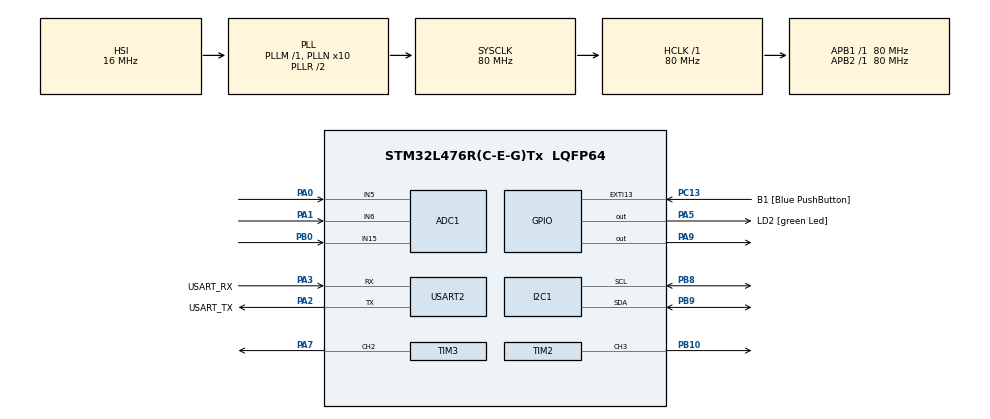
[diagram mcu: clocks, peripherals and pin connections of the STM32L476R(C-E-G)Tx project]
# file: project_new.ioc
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ADC1.Channel-0\#ChannelRegularConversion=ADC_CHANNEL_5
ADC1.NbrOfConversionFlag=1
ADC1.OffsetNumber-0\#ChannelRegularConversion=ADC_OFFSET_NONE
ADC1.Rank-0\#ChannelRegularConversion=1
ADC1.SamplingTime-0\#ChannelRegularConversion=ADC_SAMPLETIME_2CYCLES_5
ADC1.master=1
FREERTOS.Tasks01=defaultTask,24,128,StartDefaultTask,Default,NULL,Dynamic,NULL,NULL
FREERTOS.configTOTAL_HEAP_SIZE=25000
I2C1.Timing=0x10D19CE4
Mcu.Family=STM32L4
Mcu.Name=STM32L476R(C-E-G)Tx
Mcu.Package=LQFP64
NVIC.PriorityGroup=NVIC_PRIORITYGROUP_4
PA0.Signal=ADCx_IN5
PA1.Signal=ADCx_IN6
PA13\ (JTMS-SWDIO).GPIO_Label=TMS
PA13\ (JTMS-SWDIO).Mode=Serial_Wire
PA13\ (JTMS-SWDIO).Signal=SYS_JTMS-SWDIO
PA14\ (JTCK-SWCLK).GPIO_Label=TCK
PA14\ (JTCK-SWCLK).Mode=Serial_Wire
PA14\ (JTCK-SWCLK).Signal=SYS_JTCK-SWCLK
PA2.GPIO_Label=USART_TX
PA2.GPIO_Mode=GPIO_MODE_AF_PP
PA2.GPIO_PuPd=GPIO_NOPULL
PA2.GPIO_Speed=GPIO_SPEED_FREQ_VERY_HIGH
PA2.Mode=Asynchronous
PA2.Signal=USART2_TX
PA3.GPIO_Label=USART_RX
PA3.GPIO_Mode=GPIO_MODE_AF_PP
PA3.GPIO_PuPd=GPIO_NOPULL
PA3.GPIO_Speed=GPIO_SPEED_FREQ_VERY_HIGH
PA3.Mode=Asynchronous
PA3.Signal=USART2_RX
PA5.GPIO_Label=LD2 [green Led]
PA5.GPIO_ModeDefaultOutputPP=GPIO_MODE_OUTPUT_PP
PA5.GPIO_PuPd=GPIO_NOPULL
PA5.GPIO_Speed=GPIO_SPEED_FREQ_LOW
PA5.Signal=GPIO_Output
PA6.Signal=S_TIM3_CH1
PA7.Signal=S_TIM3_CH2
PA9.GPIO_ModeDefaultOutputPP=GPIO_MODE_OUTPUT_PP
PA9.GPIO_PuPd=GPIO_PULLDOWN
PA9.Signal=GPIO_Output
PB0.Signal=ADCx_IN15
PB10.Signal=S_TIM2_CH3
PB11.Signal=S_TIM2_CH4
PB3\ (JTDO-TRACESWO).GPIO_Label=SWO
PB3\ (JTDO-TRACESWO).Signal=SYS_JTDO-SWO
PB8.Mode=I2C
PB8.Signal=I2C1_SCL
PB9.Mode=I2C
PB9.Signal=I2C1_SDA
PC13.GPIO_Label=B1 [Blue PushButton]
PC13.GPIO_ModeDefaultEXTI=GPIO_MODE_IT_FALLING
PC13.GPIO_PuPd=GPIO_NOPULL
PC13.Signal=GPXTI13
PC14-OSC32_IN\ (PC14).Mode=LSE-External-Oscillator
PC14-OSC32_IN\ (PC14).Signal=RCC_OSC32_IN
PC15-OSC32_OUT\ (PC15).Mode=LSE-External-Oscillator
PC15-OSC32_OUT\ (PC15).Signal=RCC_OSC32_OUT
PH0-OSC_IN\ (PH0).Signal=RCC_OSC_IN
PH1-OSC_OUT\ (PH1).Signal=RCC_OSC_OUT
ProjectManager.HeapSize=0x200
ProjectManager.StackSize=0x400
ProjectManager.TargetToolchain=STM32CubeIDE
RCC.ADCFreq_Value=64000000
RCC.AHBFreq_Value=80000000
RCC.APB1Freq_Value=80000000
RCC.APB1TimFreq_Value=80000000
RCC.APB2Freq_Value=80000000
RCC.APB2TimFreq_Value=80000000
RCC.CortexFreq_Value=80000000
RCC.HCLKFreq_Value=80000000
RCC.HSE_VALUE=8000000
RCC.HSI_VALUE=16000000
RCC.MSI_VALUE=4000000
RCC.PLLN=10
RCC.PLLSourceVirtual=RCC_PLLSOURCE_HSI
RCC.PREFETCH_ENABLE=1
RCC.SYSCLKFreq_VALUE=80000000
RCC.SYSCLKSource=RCC_SYSCLKSOURCE_PLLCLK
RCC.USBFreq_Value=64000000
RCC.VCOOutputFreq_Value=160000000
SH.ADCx_IN15.0=ADC1_IN15,IN15-Single-Ended
SH.ADCx_IN5.0=ADC1_IN5,IN5-Single-Ended
SH.ADCx_IN6.0=ADC1_IN6,IN6-Single-Ended
SH.S_TIM2_CH3.0=TIM2_CH3,PWM Generation3 CH3
SH.S_TIM2_CH4.0=TIM2_CH4
SH.S_TIM3_CH1.0=TIM3_CH1
SH.S_TIM3_CH2.0=TIM3_CH2,PWM Generation2 CH2
TIM2.Channel-PWM\ Generation3\ CH3=TIM_CHANNEL_3
TIM2.Period=19999
TIM2.Prescaler=79
TIM3.Channel-PWM\ Generation2\ CH2=TIM_CHANNEL_2
TIM3.Period=19999
TIM3.Prescaler=79
USART2.VirtualMode-Asynchronous=VM_ASYNC
VP_FREERTOS_VS_CMSIS_V2.Mode=CMSIS_V2
board=NUCLEO-L476RG

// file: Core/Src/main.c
/* USER CODE BEGIN Header */
/**
  ******************************************************************************
  * @file           : main.c
  * @brief          : Main program body
  ******************************************************************************
  * @attention
  *
  * Copyright (c) 2025 STMicroelectronics.
  * All rights reserved.
  *
  * This software is licensed under terms that can be found in the LICENSE file
  * in the root directory of this software component.
  * If no LICENSE file comes with this software, it is provided AS-IS.
  *
  ******************************************************************************
  */
/* USER CODE END Header */
#include "main.h"
#include "cmsis_os.h"
#include "adc.h"
#include "i2c.h"
#include "tim.h"
#include "usart.h"
#include "gpio.h"

/* USER CODE BEGIN Includes */
#include <stdlib.h>   // for abs()
/* USER CODE END Includes */

/* USER CODE BEGIN PD */

// ===== SERVO PULSE LIMITS =====
#define SERVO_MIN_PULSE 1000   // 1.0 ms
#define SERVO_MAX_PULSE 2000   // 2.0 ms
#define SERVO_STOP      1500   // 1.5 ms (center)

#define MY_I2C_ADDR  (0x68 << 1)   // 0x68 is 7-bit address

// ===== CALIBRATION DATA =====
// X Axis (Restricted Range)
#define X_MIN     976
#define X_CENTER  1987
#define X_MAX     3019

// Y Axis (Full Range)
#define Y_MIN     0
#define Y_CENTER  2005
#define Y_MAX     4032

// Deadzone to prevent drift / cross-talk between axes
#define DEAD_BAND 150

/* USER CODE END PD */

/* USER CODE BEGIN PM */
 #include "i2c.h"

/* USER CODE END PM */

void SystemClock_Config(void);
void MX_FREERTOS_Init(void);
/* USER CODE BEGIN PFP */

// Call this from your FreeRTOS task loop
void Process_Joystick(void);

/* USER CODE END PFP */

int main(void)
{

  /* MCU Configuration--------------------------------------------------------*/

  /* Reset of all peripherals, Initializes the Flash interface and the Systick. */
  HAL_Init();

  /* Configure the system clock */
  SystemClock_Config();

  /* Initialize all configured peripherals */
  MX_GPIO_Init();
  MX_USART2_UART_Init();
  MX_TIM2_Init();
  MX_TIM3_Init();
  MX_ADC1_Init();
  MX_I2C1_Init();
  /* USER CODE BEGIN 2 */
  // Start PWM for both servos (TIM2_CH3, TIM3_CH2, plus TIM3_CH3 for buzzer)
  if (HAL_TIM_PWM_Start(&htim2, TIM_CHANNEL_3) != HAL_OK) {
      Error_Handler();
  }
  if (HAL_TIM_PWM_Start(&htim3, TIM_CHANNEL_2) != HAL_OK) {
      Error_Handler();
  }

  // Set initial center position for both servos
  __HAL_TIM_SET_COMPARE(&htim2, TIM_CHANNEL_3, SERVO_STOP);
  __HAL_TIM_SET_COMPARE(&htim3, TIM_CHANNEL_2, SERVO_STOP);

  // LED blink to confirm init (optional)
  for (int i = 0; i < 3; i++) {
      HAL_GPIO_WritePin(GPIOA, GPIO_PIN_5, GPIO_PIN_SET);
      HAL_GPIO_WritePin(GPIOA, GPIO_PIN_9, GPIO_PIN_SET);

      HAL_Delay(200);
      HAL_GPIO_WritePin(GPIOA, GPIO_PIN_5, GPIO_PIN_RESET);
      HAL_GPIO_WritePin(GPIOA, GPIO_PIN_9, GPIO_PIN_RESET);

      HAL_Delay(200);
  }
  /* USER CODE END 2 */

  /* Init scheduler */
  osKernelInitialize();  /* Call init function for freertos objects (in cmsis_os2.c) */
  MX_FREERTOS_Init();

  /* Start scheduler */
  osKernelStart();

  /* We should never get here as control is now taken by the scheduler */

  /* Infinite loop */
  while (1)
  {

    /* USER CODE BEGIN 3 */
	  //uint8_t data[6];
	 // I2C_ReadBytes(0x68, 0x3B, data, 6);   // Read accelerometer 6 bytes
	  char msg[90];
	  sprintf(msg,"PHOTO: %d",LightSensor_ReadLux());
	  HAL_UART_Transmit(&huart2, (uint8_t*)msg, strlen(msg), HAL_MAX_DELAY);
    // DO NOT put Process_Joystick() here once FreeRTOS is running.
    // Call Process_Joystick() from a FreeRTOS task instead (e.g. defaultTask in freertos.c).
  }
  /* USER CODE END 3 */
}

void SystemClock_Config(void)
{
  RCC_OscInitTypeDef RCC_OscInitStruct = {0};
  RCC_ClkInitTypeDef RCC_ClkInitStruct = {0};

  /** Configure the main internal regulator output voltage
  */
  if (HAL_PWREx_ControlVoltageScaling(PWR_REGULATOR_VOLTAGE_SCALE1) != HAL_OK)
  {
    Error_Handler();
  }

  /** Initializes the RCC Oscillators according to the specified parameters
  * in the RCC_OscInitTypeDef structure.
  */
  RCC_OscInitStruct.OscillatorType = RCC_OSCILLATORTYPE_HSI;
  RCC_OscInitStruct.HSIState = RCC_HSI_ON;
  RCC_OscInitStruct.HSICalibrationValue = RCC_HSICALIBRATION_DEFAULT;
  RCC_OscInitStruct.PLL.PLLState = RCC_PLL_ON;
  RCC_OscInitStruct.PLL.PLLSource = RCC_PLLSOURCE_HSI;
  RCC_OscInitStruct.PLL.PLLM = 1;
  RCC_OscInitStruct.PLL.PLLN = 10;
  RCC_OscInitStruct.PLL.PLLP = RCC_PLLP_DIV7;
  RCC_OscInitStruct.PLL.PLLQ = RCC_PLLQ_DIV2;
  RCC_OscInitStruct.PLL.PLLR = RCC_PLLR_DIV2;
  if (HAL_RCC_OscConfig(&RCC_OscInitStruct) != HAL_OK)
  {
    Error_Handler();
  }

  /** Initializes the CPU, AHB and APB buses clocks
  */
  RCC_ClkInitStruct.ClockType = RCC_CLOCKTYPE_HCLK|RCC_CLOCKTYPE_SYSCLK
                              |RCC_CLOCKTYPE_PCLK1|RCC_CLOCKTYPE_PCLK2;
  RCC_ClkInitStruct.SYSCLKSource = RCC_SYSCLKSOURCE_PLLCLK;
  RCC_ClkInitStruct.AHBCLKDivider = RCC_SYSCLK_DIV1;
  RCC_ClkInitStruct.APB1CLKDivider = RCC_HCLK_DIV1;
  RCC_ClkInitStruct.APB2CLKDivider = RCC_HCLK_DIV1;

  if (HAL_RCC_ClockConfig(&RCC_ClkInitStruct, FLASH_LATENCY_4) != HAL_OK)
  {
    Error_Handler();
  }
}

/* USER CODE BEGIN 4 */

/**
  * @brief  Read joystick (ADC) and update servo PWMs.
  * @note   CALL THIS FROM A FREERTOS TASK (e.g. defaultTask in freertos.c),
  *         NOT from main's while(1) once the scheduler is running.
  */
void Process_Joystick(void)
{
    uint32_t rawX = 0;
    uint32_t rawY = 0;

    // Example using polling for 2 channels in sequence.
    // Make sure MX_ADC1_Init() is configured to scan both channels in sequence.
    HAL_ADC_Start(&hadc1);

    if (HAL_ADC_PollForConversion(&hadc1, 10) == HAL_OK) {
        rawX = HAL_ADC_GetValue(&hadc1);  // first conversion: X
    }

    if (HAL_ADC_PollForConversion(&hadc1, 10) == HAL_OK) {
        rawY = HAL_ADC_GetValue(&hadc1);  // second conversion: Y
    }

    HAL_ADC_Stop(&hadc1);

    // Map to servo pulses using your calibrated asymmetric mapping
    uint32_t pwmX = Map_Joystick_Axis(rawX, X_MIN, X_CENTER, X_MAX);
    uint32_t pwmY = Map_Joystick_Axis(rawY, Y_MIN, Y_CENTER, Y_MAX);

    // Write to servo timers
    __HAL_TIM_SET_COMPARE(&htim2, TIM_CHANNEL_3, pwmX); // X-axis servo
    __HAL_TIM_SET_COMPARE(&htim3, TIM_CHANNEL_2, pwmY); // Y-axis servo
}

/* USER CODE END 4 */

void Error_Handler(void)
{
  __disable_irq();
  while (1)
  {
  }
}

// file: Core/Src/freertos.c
/* USER CODE BEGIN Header */
/**
  ******************************************************************************
  * File Name         : freertos.c
  * Description       : Code for freertos applications
  ******************************************************************************
  * @attention
  *
  * Copyright (c) 2025 STMicroelectronics.
  * All rights reserved.
  *
  * This software is licensed under terms that can be found in the LICENSE file
  * in the root directory of this software component.
  * If no LICENSE file comes with this software, it is provided AS-IS.
  *
  ******************************************************************************
  */
/* USER CODE END Header */

#include "FreeRTOS.h"
#include "task.h"
#include "main.h"
#include "cmsis_os.h"
#include "i2c.h"

/* USER CODE BEGIN Includes */
#include "usart.h" // for huart2
#include "tim.h"   // for htim2, htim3
#include "adc.h"   // for hadc1
#include <stdio.h>
#include <string.h>
#include <stdlib.h> // abs()
/* USER CODE END Includes */

/* USER CODE BEGIN PTD */

// Shared data between tasks
typedef struct {
    uint32_t joystick_x;
    uint32_t joystick_y;
    uint16_t servo_x_pulse;
    uint16_t servo_y_pulse;
    uint8_t  buzzer_active;
} SharedData_t;

/* USER CODE END PTD */

/* USER CODE BEGIN PD */

// ===== Joystick Calibration =====
// X-axis: [418, 3100], center = almost 2000
const uint16_t JOY_X_MIN    = 418;
const uint16_t JOY_X_CENTER = 2000;
const uint16_t JOY_X_MAX    = 3100;

// Y-axis: [0, 4095], center = almost 2000
const uint16_t JOY_Y_MIN    = 0;
const uint16_t JOY_Y_CENTER = 2000;
const uint16_t JOY_Y_MAX    = 3218;

// Servo pulse range (µs / timer ticks)
const uint16_t SERVO_MIN    = 1000;
const uint16_t SERVO_CENTER = 1500;
const uint16_t SERVO_MAX    = 2000;
// Right = positive side, Left = negative side (smaller pulse)
#define SERVO_Y_MAX_OFFSET   150   // range of movement on servo y
#define SERVO_Y_SLEW_STEP    30     // lower = slower, higher = faster
#define SERVO_X_SLEW_STEP   30    // lower = slower, higher = faster

// Shift Y center: negative = more to the left, positive = more to the right
#define SERVO_Y_CENTER_TRIM  -50

/* USER CODE END PD */

/* USER CODE BEGIN Variables */

// Shared data instance
volatile SharedData_t g_sharedData;

// Mutex
osMutexId_t g_dataMutexHandle;

// Task handles
osThreadId_t g_joystickTaskHandle;
osThreadId_t g_servoTaskHandle;
osThreadId_t g_buzzerTaskHandle;
osThreadId_t g_uartPrinterTaskHandle;

// UART TX buffer
char g_txBuffer[100];

/* USER CODE END Variables */
/* Definitions for defaultTask */
osThreadId_t defaultTaskHandle;
const osThreadAttr_t defaultTask_attributes = {
  .name = "defaultTask",
  .stack_size = 128 * 4,
  .priority = (osPriority_t) osPriorityNormal,
};

/* USER CODE BEGIN FunctionPrototypes */
void debugPrint(char *msg)
{
    HAL_UART_Transmit(&huart2, (uint8_t*)msg, strlen(msg), HAL_MAX_DELAY);
}

void StartDefaultTask(void *argument);

/* Task functions */
void joystickTask(void *argument);
void servoTask(void *argument);
void buzzerTask(void *argument);
void printerTask(void *argument);
// Helper function: read 5 samples from ADC_CHANNEL_15, average them,
// and trigger the buzzer if the average is above 1200.

/* Helpers */
uint32_t Read_ADC_Channel(uint32_t channel);

static int32_t MapRawAxisToPercent(uint32_t raw,
                                   uint32_t min,
                                   uint32_t neutral,
                                   uint32_t max);

static void Apply_CrossAxis_Compensation(int32_t *x, int32_t *y);

void Read_Calibrated_Joystick(int32_t *x_out, int32_t *y_out);

uint16_t Map_JoyPercent_To_Pulse(int32_t pct);

void play_tone(uint32_t duration_ms);
void debugPrint(char *msg);
void Check_Adc15_And_Buzz(void)
{
    uint32_t sum = 0;
    uint32_t avg = 0;

    for (int i = 0; i < 5; i++)
    {
        sum += Read_ADC_Channel(ADC_CHANNEL_15);  // your existing ADC helper
    }

    avg = sum / 5;

    if (avg > 1200)
    {
        // Call your existing tone function
        play_tone(300);
    }
}

/* USER CODE END FunctionPrototypes */

void StartDefaultTask(void *argument);

void MX_FREERTOS_Init(void); /* (MISRA C 2004 rule 8.1) */

void MX_FREERTOS_Init(void) {
  /* USER CODE BEGIN Init */

// Center servos on startup
__HAL_TIM_SET_COMPARE(&htim2, TIM_CHANNEL_3, SERVO_CENTER); // X servo
__HAL_TIM_SET_COMPARE(&htim3, TIM_CHANNEL_2, SERVO_CENTER + SERVO_Y_CENTER_TRIM); // Y servo

  /* USER CODE END Init */

  /* USER CODE BEGIN RTOS_MUTEX */

  const osMutexAttr_t g_dataMutex_attributes = {
      .name = "dataMutex"
  };
  g_dataMutexHandle = osMutexNew(&g_dataMutex_attributes);
  if (g_dataMutexHandle == NULL) {
      debugPrint("ERROR: Failed to create dataMutex!\r\n");
  }

  // Initialize shared data to center
  g_sharedData.joystick_x    = JOY_X_CENTER;
  g_sharedData.joystick_y    = JOY_Y_CENTER;
  g_sharedData.servo_x_pulse = SERVO_CENTER;
  g_sharedData.servo_y_pulse = SERVO_CENTER + SERVO_Y_CENTER_TRIM;
  g_sharedData.buzzer_active = 1;

  /* USER CODE END RTOS_MUTEX */

  /* Create the thread(s) */
  /* creation of defaultTask */
  defaultTaskHandle = osThreadNew(StartDefaultTask, NULL, &defaultTask_attributes);

  /* USER CODE BEGIN RTOS_THREADS */

  // --- Create Joystick Task ---
  const osThreadAttr_t g_joystickTask_attributes = {
      .name       = "JoystickTask",
      .priority   = (osPriority_t) osPriorityHigh,
      .stack_size = 500 * 4
  };
  g_joystickTaskHandle = osThreadNew(joystickTask, NULL, &g_joystickTask_attributes);
  if (g_joystickTaskHandle == NULL) {
      debugPrint("ERROR: Failed to create JoystickTask!\r\n");
  }

  // --- Create Servo Task ---
  const osThreadAttr_t g_servoTask_attributes = {
      .name       = "ServoTask",
      .priority   = (osPriority_t) osPriorityAboveNormal,
      .stack_size = 256 * 4
  };
  g_servoTaskHandle = osThreadNew(servoTask, NULL, &g_servoTask_attributes);
  if (g_servoTaskHandle == NULL) {
      debugPrint("ERROR: Failed to create ServoTask!\r\n");
  }

  // --- Create Buzzer Task ---
  const osThreadAttr_t g_buzzerTask_attributes = {
      .name       = "BuzzerTask",
      .priority   = (osPriority_t) osPriorityNormal,
      .stack_size = 256 * 4
  };
  g_buzzerTaskHandle = osThreadNew(buzzerTask, NULL, &g_buzzerTask_attributes);
  if (g_buzzerTaskHandle == NULL) {
      debugPrint("ERROR: Failed to create BuzzerTask!\r\n");
  }

  // --- Create UART Printer Task ---
  const osThreadAttr_t g_uartPrinterTask_attributes = {
      .name       = "UARTPrinterTask",
      .priority   = (osPriority_t) osPriorityNormal,
      .stack_size = 256 * 4
  };
  g_uartPrinterTaskHandle = osThreadNew(printerTask, NULL, &g_uartPrinterTask_attributes);
  if (g_uartPrinterTaskHandle == NULL) {
      debugPrint("ERROR: Failed to create UARTPrinterTask!\r\n");
  }

  /* USER CODE END RTOS_THREADS */

}

#define PCF_MODULE_ADDRESS  (0x48 << 1)  // 7-bit base address shifted once for HAL
#define PCF_READ_AIN1       (0x40 | 0x01)  // 0x40 = enable ADC, 0x01 = select AIN1

//reading value from photoresistor (0 to 250)
int LightSensor_ReadLux(I2C_HandleTypeDef *hi2c)
{
    HAL_StatusTypeDef status;
    uint8_t cmd = PCF_READ_AIN1;
    uint8_t dummy;
    uint8_t value;

    // Step 1: Send control byte (select AIN1 and turn on ADC)
    status = HAL_I2C_Master_Transmit(hi2c, PCF_MODULE_ADDRESS, &cmd, 1, 100);
    if (status != HAL_OK)
        return -1;

    // Step 2: Dummy read (previous conversion)
    status = HAL_I2C_Master_Receive(hi2c, PCF_MODULE_ADDRESS, &dummy, 1, 100);
    if (status != HAL_OK)
        return -1;

    // Step 3: Actual conversion result
    status = HAL_I2C_Master_Receive(hi2c, PCF_MODULE_ADDRESS, &value, 1, 100);
    if (status != HAL_OK)
        return -1;

    // Return 0–255 light level (higher = darker)
    return value;
}

void StartDefaultTask(void *argument)
{
  for(;;)
  {
    osDelay(1);
  }
}

/* USER CODE BEGIN Application */

void play_tone(uint32_t duration_ms) {
	HAL_GPIO_WritePin(GPIOA, GPIO_PIN_9, GPIO_PIN_SET); // buzzer ON
	osDelay(duration_ms);
	HAL_GPIO_WritePin(GPIOA, GPIO_PIN_9, GPIO_PIN_RESET);
}

/* ================================================================
   JOYSTICK PROCESSING PIPELINE (CLEAN VERSION — NO ROTATION MATH)
   ================================================================

   This module converts raw joystick ADC readings into stable,
   clean, servo-ready control signals with correct X/Y axis
   separation and minimal noise.

   The processing happens in 4 stages:

   ---------------------------------------------------------------
   1. RAW ADC READ
   ---------------------------------------------------------------
   We read the hardware joystick directly using:
       raw_x = Read_ADC_Channel(ADC_CHANNEL_5);
       raw_y = Read_ADC_Channel(ADC_CHANNEL_6);

   These values are typically in the range 0–4095.

   ---------------------------------------------------------------
   2. NORMALIZATION TO PERCENT (-100 .. +100)
   ---------------------------------------------------------------
   Using joystick calibration ranges (min, neutral, max),
   each raw value is converted into a percentage:

        -100 = fully left / down
         0   = center
        +100 = fully right / up

   The function:
       MapRawAxisToPercent()

   handles asymmetric ranges (neutral not centered),
   clamps values correctly, and produces clean percent outputs.

   ---------------------------------------------------------------
   3. CROSS-AXIS COMPENSATION
   ---------------------------------------------------------------
   Real joysticks never move perfectly straight. When the stick
   is pushed up, the X axis moves slightly; when pushed left,
   Y moves slightly. This produces diagonal drift.

   The function:
       Apply_CrossAxis_Compensation()

   fixes this by:
     • When movement is strongly horizontal → zero out Y
     • When movement is strongly vertical   → zero out X
     • When diagonal movement is detected   → suppress the
       weaker axis so movement feels natural

   This gives you clean, stable axes without using any rotation
   matrices or trigonometry.

   ---------------------------------------------------------------
   4. MAPPING TO SERVO PULSE WIDTH
   ---------------------------------------------------------------
   After X/Y are corrected and percent-based, they are mapped
   into the servo’s pulse range:

       SERVO_MIN  → -100%
       SERVO_CENTER →   0%
       SERVO_MAX  → +100%

   via:
       Map_JoyPercent_To_Pulse()

   This keeps your joystick mapping independent of hardware
   ADC ranges — only percent values flow into the servo layer.

   ---------------------------------------------------------------
   5. SLEW, OFFSET, AND TRIM (servoTask)
   ---------------------------------------------------------------
   The servoTask applies "physical movement shaping":

     • Slew-rate limiting
         Prevents servos from jumping too fast (protects load)
     • Center offset
         Fixes mechanical misalignment
     • Y-axis max deviation limit
         Prevents flipping or dangerous tilt

   These adjustments are NOT done in joystick space — they are
   done after percent-to-pulse conversion to keep the logic clean.

   ---------------------------------------------------------------
   Summary:
     joystickTask:
         - Reads ADC → percent → cross-axis fix → pulse targets
     servoTask:
         - Applies slew, trimming, mechanical limits
         - Updates hardware PWM channels

   This architecture keeps your joystick logic clean and robust,
   and your servo movement safe, smooth, and predictable.
   ================================================================ */

//turn raw voltage value into a calibrated percentage
static int32_t MapRawAxisToPercent(uint32_t raw,
                                   uint32_t min,
                                   uint32_t neutral,
                                   uint32_t max)
{
    int32_t range_pos = (int32_t)max - (int32_t)neutral;
    int32_t range_neg = (int32_t)neutral - (int32_t)min;
    int32_t out;

    if ((int32_t)raw >= (int32_t)neutral) {
        out = (int32_t)(( (int32_t)raw - (int32_t)neutral ) * 100) / range_pos;
    } else {
        out = (int32_t)(( (int32_t)raw - (int32_t)neutral ) * 100) / range_neg;
    }

    // Clamp to [-100, 100]
    if (out > 100)  out = 100;
    if (out < -100) out = -100;

    return out;
}

//create a dominant axis to deal with cross-talk between axis x and y
static void Apply_CrossAxis_Compensation(int32_t *x, int32_t *y)
{
    int32_t original_x = *x;
    int32_t original_y = *y;

    // Snap mostly-horizontal
    if (abs(original_x) > 70 && abs(original_y) < 30) {
        *y = 0;
    }
    // Snap mostly-vertical
    else if (abs(original_y) > 70 && abs(original_x) < 30) {
        *x = 0;
    }
    // Strong diagonal → reduce the weaker axis
    else if (abs(original_x) > 40 && abs(original_y) > 40) {
        if (abs(original_x) > abs(original_y)) {
            *y = (original_y * 30) / 100;  // shrink Y
        } else {
            *x = (original_x * 30) / 100;  // shrink X
        }
    }
}

//calibrating joystick in percentage form
void Read_Calibrated_Joystick(int32_t *x_out, int32_t *y_out)
{
    uint32_t raw_x = Read_ADC_Channel(ADC_CHANNEL_5);
    uint32_t raw_y = Read_ADC_Channel(ADC_CHANNEL_6);

    int32_t x_pct = MapRawAxisToPercent(raw_x,
                                        JOY_X_MIN,
                                        JOY_X_CENTER,
                                        JOY_X_MAX);

    int32_t y_pct = MapRawAxisToPercent(raw_y,
                                        JOY_Y_MIN,
                                        JOY_Y_CENTER,
                                        JOY_Y_MAX);

    *x_out = x_pct;
    *y_out = y_pct;

    // Cross-axis cleanup (no cos/sin, just logic)
    Apply_CrossAxis_Compensation(x_out, y_out);
}

//converting percentage to servo pulse value
uint16_t Map_JoyPercent_To_Pulse(int32_t pct)
{
    // pct in [-100 .. 100], 0 is center
    // DEAD_BAND is your existing deadzone in percent (e.g. 5 or 10)
    const int32_t DEAD_BAND_PERCENT = 5;

    if (abs(pct) < DEAD_BAND_PERCENT) {
        return SERVO_CENTER;  // center pulse
    }

    int32_t out;

    if (pct < 0) {
        // [-100 .. 0) -> [SERVO_MIN_PULSE .. SERVO_STOP)
        out = (pct + 100) * (SERVO_CENTER - SERVO_MIN) / 100 + SERVO_MIN;
    } else {
        // (0 .. 100] -> (SERVO_STOP .. SERVO_MAX_PULSE]
        out = pct * (SERVO_MAX - SERVO_CENTER) / 100 + SERVO_CENTER;
    }

    if (out < SERVO_MIN) out = SERVO_MIN;
    if (out > SERVO_MAX) out = SERVO_MAX;

    return (uint16_t)out;
}

//joystick task will use functions explained above to create the final value which will be passed to the
//servos
void joystickTask(void *argument)
{
	const uint32_t task_delay = 20; // 50 Hz
	    int32_t joy_x_pct, joy_y_pct;
	    uint16_t mapped_x, mapped_y;

	    for(;;)
	    {
	        // 1. Read calibrated joystick in [-100..100] with cross-axis compensation
	        Read_Calibrated_Joystick(&joy_x_pct, &joy_y_pct);

	        // 2. Map to servo pulses
	        mapped_x = Map_JoyPercent_To_Pulse(joy_x_pct);
	        mapped_y = Map_JoyPercent_To_Pulse(joy_y_pct);

	        // 3. Update shared data (servoTask still does slew + trim)
	        if(osMutexAcquire(g_dataMutexHandle, 10) == osOK)
	        {
	            g_sharedData.joystick_x    = joy_x_pct; // or keep for debugging
	            g_sharedData.joystick_y    = joy_y_pct;
	            g_sharedData.servo_x_pulse = mapped_x;
	            g_sharedData.servo_y_pulse = mapped_y;
	            osMutexRelease(g_dataMutexHandle);
	        }

	        osDelay(task_delay);
	    }
}

//servo task where we move servo but we restrict movement on y so that board does not tilt too much
//and we control speed of movment. We also recenter due to mechanical error (propeller misplacement)
void servoTask(void *argument)
{
    const uint32_t task_delay = 20; // 50 Hz
    uint16_t local_x_pulse, local_y_pulse;

    // Start filtered Y at shifted center
    static uint16_t filtered_y_pulse = SERVO_CENTER + SERVO_Y_CENTER_TRIM;
    static uint16_t filtered_x_pulse = SERVO_CENTER;

    for(;;)
    {
        if(osMutexAcquire(g_dataMutexHandle, 10) == osOK)
        {
            local_x_pulse = g_sharedData.servo_x_pulse;
            local_y_pulse = g_sharedData.servo_y_pulse;
            osMutexRelease(g_dataMutexHandle);
        }
        else
        {
            local_x_pulse = SERVO_CENTER;
            local_y_pulse = SERVO_CENTER + SERVO_Y_CENTER_TRIM;
        }

        // ---------- X smoothing (slow movement) ----------
        int16_t diffX = (int16_t)local_x_pulse - (int16_t)filtered_x_pulse;

        if (diffX > SERVO_X_SLEW_STEP)
            diffX = SERVO_X_SLEW_STEP;
        else if (diffX < -SERVO_X_SLEW_STEP)
            diffX = -SERVO_X_SLEW_STEP;

        filtered_x_pulse = (uint16_t)((int16_t)filtered_x_pulse + diffX);

        __HAL_TIM_SET_COMPARE(&htim2, TIM_CHANNEL_3, filtered_x_pulse);

        // ---------- Y: symmetric range around NEW center ----------

        // Treat SERVO_CENTER as logical center coming from map_axis
        int16_t offset = (int16_t)local_y_pulse - (int16_t)SERVO_CENTER;

        // Clamp offset symmetrically
        if (offset > SERVO_Y_MAX_OFFSET)
            offset = SERVO_Y_MAX_OFFSET;
        else if (offset < -SERVO_Y_MAX_OFFSET)
            offset = -SERVO_Y_MAX_OFFSET;

        // NEW center = SERVO_CENTER + SERVO_Y_CENTER_TRIM
        uint16_t target_y_pulse = (uint16_t)(
            (int16_t)SERVO_CENTER + SERVO_Y_CENTER_TRIM + offset
        );

        // Slew toward target
        int16_t diff = (int16_t)target_y_pulse - (int16_t)filtered_y_pulse;

        if (diff > SERVO_Y_SLEW_STEP)
            diff = SERVO_Y_SLEW_STEP;
        else if (diff < -SERVO_Y_SLEW_STEP)
            diff = -SERVO_Y_SLEW_STEP;

        filtered_y_pulse = (uint16_t)((int16_t)filtered_y_pulse + diff);

        __HAL_TIM_SET_COMPARE(&htim3, TIM_CHANNEL_2, filtered_y_pulse);

        osDelay(task_delay);
    }
}

//buzzer, buzzes at the start of the game and win you finish the maze
void buzzerTask(void *argument)
{
    const uint32_t task_delay = 50;
    uint8_t local_buzzer_flag;

    for(;;)
    {
        if(osMutexAcquire(g_dataMutexHandle, 10) == osOK)
        {
            local_buzzer_flag = g_sharedData.buzzer_active;
            osMutexRelease(g_dataMutexHandle);
        }

        if(local_buzzer_flag)
        {
            //Short activation to indicate event happening
        	play_tone(300);
        	osMutexAcquire(g_dataMutexHandle, 10);
            g_sharedData.buzzer_active = 0;
            osMutexRelease(g_dataMutexHandle);

        }
        else
        {
            // Silent when inactive
            osDelay(300);
        }

        osDelay(task_delay);
    }
}

void printerTask(void *argument)
{
    const uint32_t task_delay = 2000;

    for (;;)
    {
        int32_t ldr = LightSensor_ReadLux(&hi2c1);

        //if value bigger than 150, ball is covering photoresistor and you win
        if (ldr >= 150) {
            char buf[32];
            sprintf(buf, "YOU WIN!\r\n");
            HAL_UART_Transmit(&huart2, buf, strlen(buf), HAL_MAX_DELAY);
            osMutexAcquire(g_dataMutexHandle, 10);
			g_sharedData.buzzer_active = 1;
			osMutexRelease(g_dataMutexHandle);

        } else {

        }

        osDelay(task_delay);
    }
}

//readiing joystick voltages from channel 5 & 6
uint32_t Read_ADC_Channel(uint32_t channel)
{
    ADC_ChannelConfTypeDef sConfig = {0};

    sConfig.Channel      = channel;
    sConfig.Rank         = ADC_REGULAR_RANK_1;
    sConfig.SamplingTime = ADC_SAMPLETIME_47CYCLES_5;

    HAL_ADC_ConfigChannel(&hadc1, &sConfig);
    HAL_ADC_Start(&hadc1);
    HAL_ADC_PollForConversion(&hadc1, HAL_MAX_DELAY);

    return HAL_ADC_GetValue(&hadc1);
}

/* USER CODE END Application */
